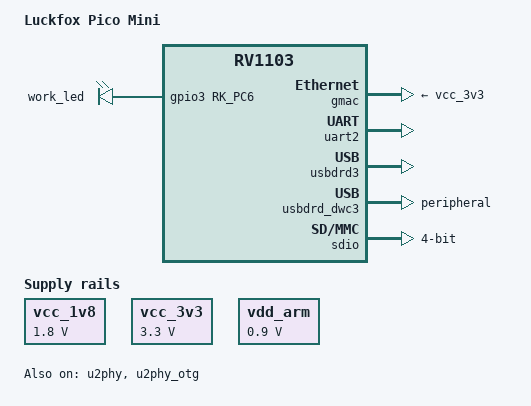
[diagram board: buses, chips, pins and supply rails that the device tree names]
// SPDX-License-Identifier: (GPL-2.0+ OR MIT)
/*
 * Copyright (c) 2023 Luckfox Electronics Co., Ltd.
 * Common base for Luckfox Pico Mini variants
 */

#include "rv1103g.dtsi"

/ {
	model = "Luckfox Pico Mini";
	compatible = "rockchip,rv1103g-luckfox-pico-mini", "rockchip,rv1103";	

	aliases {
		ethernet0 = &gmac;
		mmc0 = &emmc;
		mmc1 = &sdmmc;
		mmc2 = &sdio;
		serial2 = &uart2;
	};

	chosen {
		stdout-path = "serial2:115200n8";
	};

	vcc_1v8: vcc-1v8 {
		compatible = "regulator-fixed";
		regulator-name = "vcc_1v8";
		regulator-always-on;
		regulator-boot-on;
		regulator-min-microvolt = <1800000>;
		regulator-max-microvolt = <1800000>;
	};

	vcc_3v3: vcc-3v3 {
		compatible = "regulator-fixed";
		regulator-name = "vcc_3v3";
		regulator-always-on;
		regulator-boot-on;
		regulator-min-microvolt = <3300000>;
		regulator-max-microvolt = <3300000>;
	};

	vdd_arm: vdd-arm {
		compatible = "regulator-fixed";
		regulator-name = "vdd_arm";
		regulator-min-microvolt = <900000>;
		regulator-max-microvolt = <900000>;
		regulator-always-on;
		regulator-boot-on;
	};

	leds: leds {
		compatible = "gpio-leds";
		work_led: work{
			gpios = <&gpio3 RK_PC6 GPIO_ACTIVE_HIGH>;
			linux,default-trigger = "activity";
			default-state = "on";
		};
	};

	restart-poweroff {
		compatible = "restart-poweroff";
	};
};

&cpu0 {
	cpu-supply = <&vdd_arm>;
};

&gmac {
	clock_in_out = "input";
	phy-supply = <&vcc_3v3>;
	tx_delay = <0x30>;
	rx_delay = <0x10>;
	status = "okay";
};

&i2c3 {
	pinctrl-0 = <&i2c3m1_xfer>;
};

&i2c4 {
	pinctrl-0 = <&i2c4m2_xfer>;
};

&uart2 {
	status = "okay";
};

&uart3 {
	pinctrl-0 = <&uart3m1_xfer>;
};

&uart4 {
	pinctrl-0 = <&uart4m1_xfer>;
};

&u2phy {
	status = "okay";
};

&u2phy_otg {
	status = "okay";
};

&usbdrd3 {
	status = "okay";
};

&usbdrd_dwc3 {
	dr_mode = "peripheral";
	extcon = <&u2phy>;
	status = "okay";
};

/**********SD-CARD*********/
&sdio {
	max-frequency = <50000000>;
	no-sdio;
	no-mmc;
	supports-sd;
	bus-width = <4>;
	cap-mmc-highspeed;
	cap-sd-highspeed;
	disable-wp;
	pinctrl-names = "default";
	pinctrl-0 = <&sdmmc1m0_cmd &sdmmc1m0_clk &sdmmc1m0_bus4>;
	status = "okay";
};

#include "rv1103g-luckfox-pico-sdio.dtsi"
